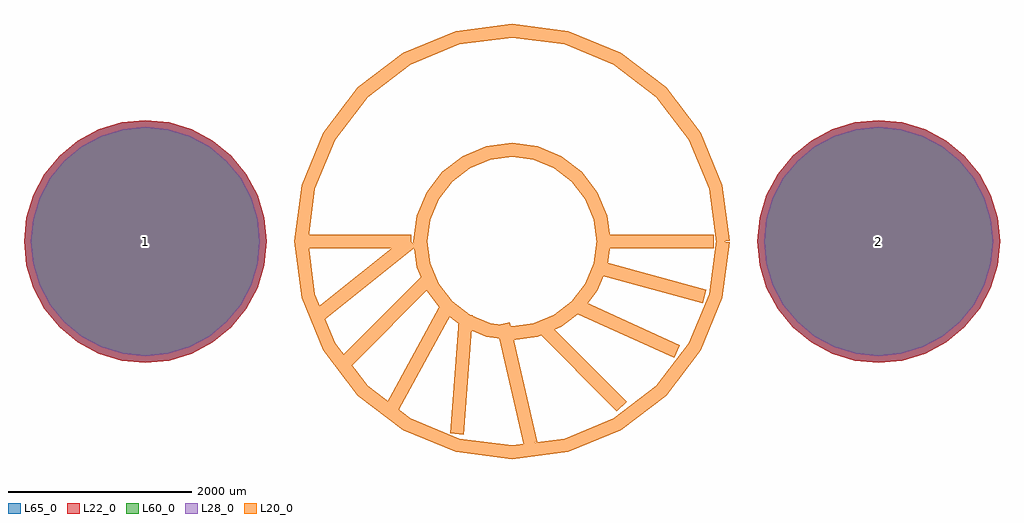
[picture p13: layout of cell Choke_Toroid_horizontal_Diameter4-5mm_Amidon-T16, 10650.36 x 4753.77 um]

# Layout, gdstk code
import gdstk
lib = gdstk.Library(unit=1e-6, precision=1e-09)
def P(c, l, *ps):  # polygons
    for p in ps: c.add(gdstk.Polygon(p, *l))
L20_0 = (20, 0)
L22_0 = (22, 0)
L28_0 = (28, 0)
L60_0 = (60, 0)
L65_0 = (65, 0)

choke_toroid_horizontal_ = lib.new_cell('Choke_Toroid_horizontal_Diameter4-5mm_Amidon-T16')
P(choke_toroid_horizontal_, L22_0, [(5325.18,0),(5299.727,258.432),(5224.345,506.933),(5101.931,735.953),(4937.19,936.69),(4736.453,1101.431),(4507.433,1223.845),(4258.932,1299.227),(4000.5,1324.68),(3742.068,1299.227),(3493.567,1223.845),(3264.547,1101.431),(3063.81,936.69),(2899.069,735.953),(2776.655,506.933),(2701.273,258.432),(2675.82,0),(2701.273,-258.432),(2776.655,-506.933),(2899.069,-735.953),(3063.81,-936.69),(3264.547,-1101.431),(3493.567,-1223.845),(3742.068,-1299.227),(4000.5,-1324.68),(4258.932,-1299.227),(4507.433,-1223.845),(4736.453,-1101.431),(4937.19,-936.69),(5101.931,-735.953),(5224.345,-506.933),(5299.727,-258.432)],
  [(-2675.82,0),(-2701.273,258.432),(-2776.655,506.933),(-2899.069,735.953),(-3063.81,936.69),(-3264.547,1101.431),(-3493.567,1223.845),(-3742.068,1299.227),(-4000.5,1324.68),(-4258.932,1299.227),(-4507.433,1223.845),(-4736.453,1101.431),(-4937.19,936.69),(-5101.931,735.953),(-5224.345,506.933),(-5299.727,258.432),(-5325.18,0),(-5299.727,-258.432),(-5224.345,-506.933),(-5101.931,-735.953),(-4937.19,-936.69),(-4736.453,-1101.431),(-4507.433,-1223.845),(-4258.932,-1299.227),(-4000.5,-1324.68),(-3742.068,-1299.227),(-3493.567,-1223.845),(-3264.547,-1101.431),(-3063.81,-936.69),(-2899.069,-735.953),(-2776.655,-506.933),(-2701.273,-258.432)])
P(choke_toroid_horizontal_, L28_0, [(5250.18,0),(5226.168,243.8),(5155.054,478.232),(5039.571,694.285),(4884.157,883.657),(4694.785,1039.071),(4478.732,1154.554),(4244.3,1225.668),(4000.5,1249.68),(3756.7,1225.668),(3522.268,1154.554),(3306.215,1039.071),(3116.843,883.657),(2961.429,694.285),(2845.946,478.232),(2774.832,243.8),(2750.82,0),(2774.832,-243.8),(2845.946,-478.232),(2961.429,-694.285),(3116.843,-883.657),(3306.215,-1039.071),(3522.268,-1154.554),(3756.7,-1225.668),(4000.5,-1249.68),(4244.3,-1225.668),(4478.732,-1154.554),(4694.785,-1039.071),(4884.157,-883.657),(5039.571,-694.285),(5155.054,-478.232),(5226.168,-243.8)],
  [(-2750.82,0),(-2774.832,243.8),(-2845.946,478.232),(-2961.429,694.285),(-3116.843,883.657),(-3306.215,1039.071),(-3522.268,1154.554),(-3756.7,1225.668),(-4000.5,1249.68),(-4244.3,1225.668),(-4478.732,1154.554),(-4694.785,1039.071),(-4884.157,883.657),(-5039.571,694.285),(-5155.054,478.232),(-5226.168,243.8),(-5250.18,0),(-5226.168,-243.8),(-5155.054,-478.232),(-5039.571,-694.285),(-4884.157,-883.657),(-4694.785,-1039.071),(-4478.732,-1154.554),(-4244.3,-1225.668),(-4000.5,-1249.68),(-3756.7,-1225.668),(-3522.268,-1154.554),(-3306.215,-1039.071),(-3116.843,-883.657),(-2961.429,-694.285),(-2845.946,-478.232),(-2774.832,-243.8)])
P(choke_toroid_horizontal_, L60_0, [(5250.18,0),(5226.168,243.8),(5155.054,478.232),(5039.571,694.285),(4884.157,883.657),(4694.785,1039.071),(4478.732,1154.554),(4244.3,1225.668),(4000.5,1249.68),(3756.7,1225.668),(3522.268,1154.554),(3306.215,1039.071),(3116.843,883.657),(2961.429,694.285),(2845.946,478.232),(2774.832,243.8),(2750.82,0),(2774.832,-243.8),(2845.946,-478.232),(2961.429,-694.285),(3116.843,-883.657),(3306.215,-1039.071),(3522.268,-1154.554),(3756.7,-1225.668),(4000.5,-1249.68),(4244.3,-1225.668),(4478.732,-1154.554),(4694.785,-1039.071),(4884.157,-883.657),(5039.571,-694.285),(5155.054,-478.232),(5226.168,-243.8)],
  [(-2750.82,0),(-2774.832,243.8),(-2845.946,478.232),(-2961.429,694.285),(-3116.843,883.657),(-3306.215,1039.071),(-3522.268,1154.554),(-3756.7,1225.668),(-4000.5,1249.68),(-4244.3,1225.668),(-4478.732,1154.554),(-4694.785,1039.071),(-4884.157,883.657),(-5039.571,694.285),(-5155.054,478.232),(-5226.168,243.8),(-5250.18,0),(-5226.168,-243.8),(-5155.054,-478.232),(-5039.571,-694.285),(-4884.157,-883.657),(-4694.785,-1039.071),(-4478.732,-1154.554),(-4244.3,-1225.668),(-4000.5,-1249.68),(-3756.7,-1225.668),(-3522.268,-1154.554),(-3306.215,-1039.071),(-3116.843,-883.657),(-2961.429,-694.285),(-2845.946,-478.232),(-2774.832,-243.8)])
P(choke_toroid_horizontal_, L65_0, [(5325.18,0),(5299.727,258.432),(5224.345,506.933),(5101.931,735.953),(4937.19,936.69),(4736.453,1101.431),(4507.433,1223.845),(4258.932,1299.227),(4000.5,1324.68),(3742.068,1299.227),(3493.567,1223.845),(3264.547,1101.431),(3063.81,936.69),(2899.069,735.953),(2776.655,506.933),(2701.273,258.432),(2675.82,0),(2701.273,-258.432),(2776.655,-506.933),(2899.069,-735.953),(3063.81,-936.69),(3264.547,-1101.431),(3493.567,-1223.845),(3742.068,-1299.227),(4000.5,-1324.68),(4258.932,-1299.227),(4507.433,-1223.845),(4736.453,-1101.431),(4937.19,-936.69),(5101.931,-735.953),(5224.345,-506.933),(5299.727,-258.432)],
  [(-2675.82,0),(-2701.273,258.432),(-2776.655,506.933),(-2899.069,735.953),(-3063.81,936.69),(-3264.547,1101.431),(-3493.567,1223.845),(-3742.068,1299.227),(-4000.5,1324.68),(-4258.932,1299.227),(-4507.433,1223.845),(-4736.453,1101.431),(-4937.19,936.69),(-5101.931,735.953),(-5224.345,506.933),(-5299.727,258.432),(-5325.18,0),(-5299.727,-258.432),(-5224.345,-506.933),(-5101.931,-735.953),(-4937.19,-936.69),(-4736.453,-1101.431),(-4507.433,-1223.845),(-4258.932,-1299.227),(-4000.5,-1324.68),(-3742.068,-1299.227),(-3493.567,-1223.845),(-3264.547,-1101.431),(-3063.81,-936.69),(-2899.069,-735.953),(-2776.655,-506.933),(-2701.273,-258.432)])
choke_toroid_horizontal_.add(gdstk.FlexPath([(2301.24,0),(2222.827,595.605),(1992.932,1150.62),(1627.222,1627.222),(1150.62,1992.932),(595.605,2222.827),(0,2301.24),(-595.605,2222.827),(-1150.62,1992.932),(-1627.222,1627.222),(-1992.932,1150.62),(-2222.827,595.605),(-2301.24,0),(-2222.827,-595.605),(-1992.932,-1150.62),(-1627.222,-1627.222),(-1150.62,-1992.932),(-595.605,-2222.827),(0,-2301.24),(595.605,-2222.827),(1150.62,-1992.932),(1627.222,-1627.222),(1992.932,-1150.62),(2222.827,-595.605),(2301.24,0)], 149.998, ends="flush", simple_path=True, layer=20, datatype=0))  # L20_0
choke_toroid_horizontal_.add(gdstk.FlexPath([(1000.76,0),(966.66,259.016),(866.684,500.38),(707.644,707.644),(500.38,866.684),(259.016,966.66),(0,1000.76),(-259.016,966.66),(-500.38,866.684),(-707.644,707.644),(-866.684,500.38),(-966.66,259.016),(-1000.76,0),(-966.66,-259.016),(-866.684,-500.38),(-707.644,-707.644),(-500.38,-866.684),(-259.016,-966.66),(0,-1000.76),(259.016,-966.66),(500.38,-866.684),(707.644,-707.644),(866.684,-500.38),(966.66,-259.016),(1000.76,0)], 149.998, ends="flush", simple_path=True, layer=20, datatype=0))  # L20_0
choke_toroid_horizontal_.add(gdstk.FlexPath([(-1099.82,0),(-2100.58,-800.1)], 149.998, ends="flush", simple_path=True, layer=20, datatype=0))  # L20_0
choke_toroid_horizontal_.add(gdstk.FlexPath([(-2301.24,0),(-1099.82,0)], 149.998, ends="flush", simple_path=True, layer=20, datatype=0))  # L20_0
choke_toroid_horizontal_.add(gdstk.FlexPath([(-899.16,-398.78),(-1800.86,-1300.48)], 149.998, ends="flush", simple_path=True, layer=20, datatype=0))  # L20_0
choke_toroid_horizontal_.add(gdstk.FlexPath([(-701.04,-701.04),(-1300.48,-1800.86)], 149.998, ends="flush", simple_path=True, layer=20, datatype=0))  # L20_0
choke_toroid_horizontal_.add(gdstk.FlexPath([(-500.38,-800.1),(-599.44,-2100.58)], 149.998, ends="flush", simple_path=True, layer=20, datatype=0))  # L20_0
choke_toroid_horizontal_.add(gdstk.FlexPath([(-99.06,-899.16),(200.66,-2199.64)], 149.998, ends="flush", simple_path=True, layer=20, datatype=0))  # L20_0
choke_toroid_horizontal_.add(gdstk.FlexPath([(299.72,-899.16),(1198.88,-1800.86)], 149.998, ends="flush", simple_path=True, layer=20, datatype=0))  # L20_0
choke_toroid_horizontal_.add(gdstk.FlexPath([(701.04,-701.04),(1800.86,-1198.88)], 149.998, ends="flush", simple_path=True, layer=20, datatype=0))  # L20_0
choke_toroid_horizontal_.add(gdstk.FlexPath([(1000.76,-299.72),(2100.58,-599.44)], 149.998, ends="flush", simple_path=True, layer=20, datatype=0))  # L20_0
choke_toroid_horizontal_.add(gdstk.FlexPath([(1000.76,0),(2199.64,0)], 149.998, ends="flush", simple_path=True, layer=20, datatype=0))  # L20_0
choke_toroid_horizontal_.add(gdstk.Label('2', (4000.5,0), layer=28, texttype=0))
choke_toroid_horizontal_.add(gdstk.Label('1', (-4000.5,0), layer=28, texttype=0))
choke_toroid_horizontal_.add(gdstk.Label('Start', (-8600.44,2900.68), layer=9, texttype=0))
choke_toroid_horizontal_.add(gdstk.Label('End', (8199.12,2900.68), layer=9, texttype=0))
choke_toroid_horizontal_.add(gdstk.Label('type', (1270,-3810), layer=9, texttype=0))
choke_toroid_horizontal_.add(gdstk.Label('devicename', (0,3810), layer=9, texttype=0))

lib.write_gds('Choke_Toroid_horizontal_Diameter4-5mm_Amidon-T16.gds')
